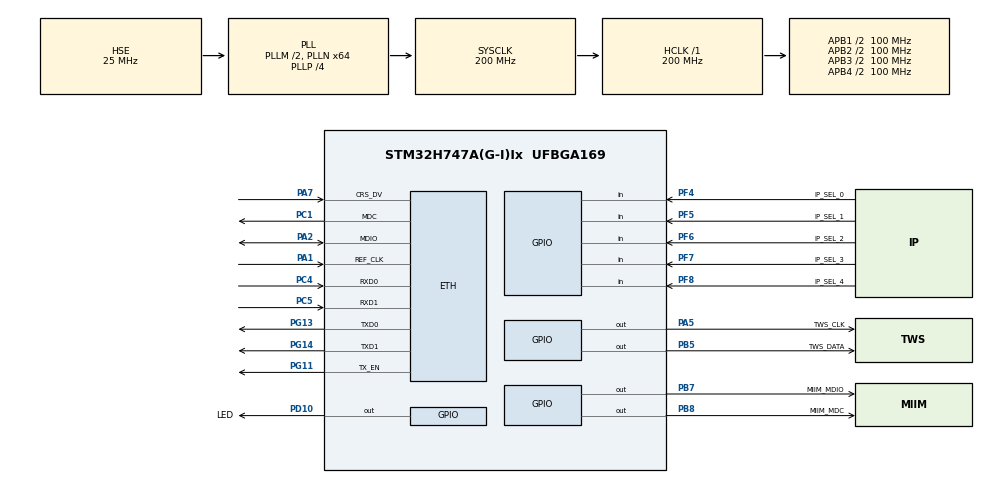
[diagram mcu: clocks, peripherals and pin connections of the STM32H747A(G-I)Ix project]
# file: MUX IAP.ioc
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CORTEX_M7.AccessPermission_S-Cortex_Memory_Protection_Unit_Region1_Settings_S=MPU_REGION_FULL_ACCESS
CORTEX_M7.AccessPermission_S-Cortex_Memory_Protection_Unit_Region2_Settings_S=MPU_REGION_FULL_ACCESS
CORTEX_M7.AccessPermission_Spec=MPU_REGION_NO_ACCESS
CORTEX_M7.BaseAddress_S-Cortex_Memory_Protection_Unit_Region1_Settings_S=0x30020000
CORTEX_M7.BaseAddress_S-Cortex_Memory_Protection_Unit_Region2_Settings_S=0x30040000
CORTEX_M7.BaseAddress_Spec=0x0
CORTEX_M7.CPU_DCache=Enabled
CORTEX_M7.CPU_ICache=Enabled
CORTEX_M7.DisableExec_S-Cortex_Memory_Protection_Unit_Region1_Settings_S=MPU_INSTRUCTION_ACCESS_DISABLE
CORTEX_M7.DisableExec_S-Cortex_Memory_Protection_Unit_Region2_Settings_S=MPU_INSTRUCTION_ACCESS_DISABLE
CORTEX_M7.Enable_S-Cortex_Memory_Protection_Unit_Region1_Settings_S=MPU_REGION_ENABLE
CORTEX_M7.Enable_S-Cortex_Memory_Protection_Unit_Region2_Settings_S=MPU_REGION_ENABLE
CORTEX_M7.IsBufferable_S-Cortex_Memory_Protection_Unit_Region2_Settings_S=MPU_ACCESS_BUFFERABLE
CORTEX_M7.IsShareable_S-Cortex_Memory_Protection_Unit_Region2_Settings_S=MPU_ACCESS_SHAREABLE
CORTEX_M7.Size_S-Cortex_Memory_Protection_Unit_Region1_Settings_S=MPU_REGION_SIZE_128KB
CORTEX_M7.Size_S-Cortex_Memory_Protection_Unit_Region2_Settings_S=MPU_REGION_SIZE_512B
CORTEX_M7.Size_Spec=MPU_REGION_SIZE_4GB
CORTEX_M7.SubRegionDisable_Spec=0x87
CORTEX_M7.TypeExtField_S-Cortex_Memory_Protection_Unit_Region1_Settings_S=MPU_TEX_LEVEL1
CORTEX_M7.TypeExtField_Spec=MPU_TEX_LEVEL0
CORTEX_M7.default_mode_Activation=1
CortexM4.IPs=CORTEX_M4\:I,FATFS_M4\:I,FREERTOS_M4\:I,IWDG2\:I,OPENAMP_M4\:I,PDM2PCM_M4\:I,PWR,RCC,RESMGR_UTILITY,SYS_M4\:I,USB_DEVICE_M4\:I,USB_HOST_M4\:I,VREFBUF,WWDG2\:I,GPIO,DMA,BDMA,MDMA,NVIC2\:I
CortexM7.IPs=CORTEX_M7\:I,FATFS_M7\:I,FREERTOS_M7\:I,IWDG1\:I,OPENAMP_M7\:I,PDM2PCM_M7\:I,PWR\:I,RCC\:I,RESMGR_UTILITY\:I,SYS\:I,USB_DEVICE_M7\:I,USB_HOST_M7\:I,VREFBUF\:I,WWDG1\:I,GPIO\:I,DMA\:I,BDMA\:I,MDMA\:I,NVIC1\:I,ETH\:I,TIM1\:I,DEBUG\:I,LWIP\:I,TIM6\:I
CortexM7.Pins=PB5,PB7,PB8,PF4,PF5,PF6,PF7,PF8,PA5,PD10
ETH.MACAddr=00\:80\:E1\:00\:00\:02
ETH.MediaInterface=HAL_ETH_RMII_MODE
ETH.RxBuffLen=1536
ETH.RxBufferAddress=0x30040200
ETH.RxDescAddress=0x30040000
ETH.TxDescAddress=0x30040100
LWIP.BSP.number=1
LWIP.IP_ADDRESS=192.168.035.005
LWIP.LWIP_DHCP=0
LWIP.LWIP_NETIF_HOSTNAME=1
LWIP.LWIP_RAM_HEAP_POINTER=0x30020000
LWIP.LWIP_RAW=1
LWIP.LWIP_TFTP=1
LWIP.MEM_SIZE=131048
LWIP.NETMASK_ADDRESS=255.255.255.000
LWIP.PBUF_POOL_BUFSIZE=10240
LWIP.PBUF_POOL_SIZE=11
LWIP.Version=v2.1.2_Cube
LWIP0.BSP.STBoard=false
LWIP0.BSP.api=BSP_COMPONENT_DRIVER
LWIP0.BSP.component=LAN8742
LWIP0.BSP.instance=LAN8742
LWIP0.BSP.name=Driver_PHY
LWIP0.BSP.semaphore=S_LAN8742
LWIP0.BSP.solution=LAN8742
Mcu.Family=STM32H7
Mcu.Name=STM32H747A(G-I)Ix
Mcu.Package=UFBGA169
NVIC1.PriorityGroup=NVIC_PRIORITYGROUP_4
NVIC1.TIM6_DAC_IRQn=true\:15\:0\:false\:false\:true\:false\:true\:true
NVIC1.TimeBase=TIM6_DAC_IRQn
NVIC1.TimeBaseIP=TIM6
NVIC2.PriorityGroup=NVIC_PRIORITYGROUP_4
PA1.GPIO_Speed=GPIO_SPEED_FREQ_VERY_HIGH
PA1.Mode=RMII
PA1.PinAttribute=CortexM7
PA1.Signal=ETH_REF_CLK
PA13\ (JTMS/SWDIO).Mode=Serial_Wire
PA13\ (JTMS/SWDIO).PinAttribute=CortexM7
PA13\ (JTMS/SWDIO).Signal=DEBUG_JTMS-SWDIO
PA14\ (JTCK/SWCLK).Mode=Serial_Wire
PA14\ (JTCK/SWCLK).PinAttribute=CortexM7
PA14\ (JTCK/SWCLK).Signal=DEBUG_JTCK-SWCLK
PA2.GPIO_Speed=GPIO_SPEED_FREQ_VERY_HIGH
PA2.Mode=RMII
PA2.PinAttribute=CortexM7
PA2.Signal=ETH_MDIO
PA5.GPIO_Label=TWS_CLK
PA5.GPIO_Speed=GPIO_SPEED_FREQ_VERY_HIGH
PA5.PinAttribute=CortexM7
PA5.Signal=GPIO_Output
PA7.GPIO_Speed=GPIO_SPEED_FREQ_VERY_HIGH
PA7.Mode=RMII
PA7.PinAttribute=CortexM7
PA7.Signal=ETH_CRS_DV
PB5.GPIO_Label=TWS_DATA
PB5.GPIO_Speed=GPIO_SPEED_FREQ_VERY_HIGH
PB5.PinAttribute=CortexM7
PB5.Signal=GPIO_Output
PB7.GPIO_Label=MIIM_MDIO
PB7.GPIO_Speed=GPIO_SPEED_FREQ_VERY_HIGH
PB7.PinAttribute=CortexM7
PB7.Signal=GPIO_Output
PB8.GPIO_Label=MIIM_MDC
PB8.GPIO_PuPd=GPIO_PULLDOWN
PB8.GPIO_Speed=GPIO_SPEED_FREQ_VERY_HIGH
PB8.PinAttribute=CortexM7
PB8.Signal=GPIO_Output
PC1.GPIO_Speed=GPIO_SPEED_FREQ_VERY_HIGH
PC1.Mode=RMII
PC1.PinAttribute=CortexM7
PC1.Signal=ETH_MDC
PC14-OSC32_IN\ (OSC32_IN).Mode=LSE-External-Clock-Source
PC14-OSC32_IN\ (OSC32_IN).PinAttribute=Free
PC14-OSC32_IN\ (OSC32_IN).Signal=RCC_OSC32_IN
PC4.GPIO_Speed=GPIO_SPEED_FREQ_VERY_HIGH
PC4.Mode=RMII
PC4.PinAttribute=CortexM7
PC4.Signal=ETH_RXD0
PC5.GPIO_Speed=GPIO_SPEED_FREQ_VERY_HIGH
PC5.Mode=RMII
PC5.PinAttribute=CortexM7
PC5.Signal=ETH_RXD1
PD10.GPIO_Label=LED
PD10.PinAttribute=CortexM7
PD10.PinState=GPIO_PIN_RESET
PD10.Signal=GPIO_Output
PF4.GPIO_Label=IP_SEL_0
PF4.GPIO_PuPd=GPIO_PULLDOWN
PF4.PinAttribute=CortexM7
PF4.Signal=GPIO_Input
PF5.GPIO_Label=IP_SEL_1
PF5.GPIO_PuPd=GPIO_PULLDOWN
PF5.PinAttribute=CortexM7
PF5.Signal=GPIO_Input
PF6.GPIO_Label=IP_SEL_2
PF6.GPIO_PuPd=GPIO_PULLDOWN
PF6.PinAttribute=CortexM7
PF6.Signal=GPIO_Input
PF7.GPIO_Label=IP_SEL_3
PF7.GPIO_PuPd=GPIO_PULLDOWN
PF7.PinAttribute=CortexM7
PF7.Signal=GPIO_Input
PF8.GPIO_Label=IP_SEL_4
PF8.GPIO_PuPd=GPIO_PULLDOWN
PF8.PinAttribute=CortexM7
PF8.Signal=GPIO_Input
PG11.GPIO_Speed=GPIO_SPEED_FREQ_VERY_HIGH
PG11.Mode=RMII
PG11.PinAttribute=CortexM7
PG11.Signal=ETH_TX_EN
PG13.GPIO_Speed=GPIO_SPEED_FREQ_VERY_HIGH
PG13.Mode=RMII
PG13.PinAttribute=CortexM7
PG13.Signal=ETH_TXD0
PG14.GPIO_Speed=GPIO_SPEED_FREQ_VERY_HIGH
PG14.Mode=RMII
PG14.PinAttribute=CortexM7
PG14.Signal=ETH_TXD1
PH0-OSC_IN\ (PH0).Mode=HSE-External-Clock-Source
PH0-OSC_IN\ (PH0).PinAttribute=Free
PH0-OSC_IN\ (PH0).Signal=RCC_OSC_IN
ProjectManager.HeapSize=M4-0x200,M7-0x10000
ProjectManager.StackSize=M4-0x400,M7-0x20000
ProjectManager.TargetToolchain=STM32CubeIDE
RCC.ADCFreq_Value=400000000
RCC.APB1Freq_Value=100000000
RCC.APB2Freq_Value=100000000
RCC.APB3Freq_Value=100000000
RCC.APB4Freq_Value=100000000
RCC.CortexFreq_Value=200000000
RCC.D1PPRE=RCC_APB3_DIV2
RCC.D2PPRE1=RCC_APB1_DIV2
RCC.D2PPRE2=RCC_APB2_DIV2
RCC.D3PPRE=RCC_APB4_DIV2
RCC.DIVM1=2
RCC.DIVM2=2
RCC.DIVM3=2
RCC.DIVN1=64
RCC.DIVN2=64
RCC.DIVN3=64
RCC.DIVP1=4
RCC.DIVR1=4
RCC.HCLKFreq_Value=200000000
RCC.PLLSourceVirtual=RCC_PLLSOURCE_HSE
RCC.PWR_Regulator_Voltage_Scale=PWR_REGULATOR_VOLTAGE_SCALE0
RCC.SYSCLKFreq_VALUE=200000000
RCC.SYSCLKSource=RCC_SYSCLKSOURCE_PLLCLK
RCC.SupplySource=PWR_LDO_SUPPLY
RCC.USBFreq_Value=400000000
SYS.userName=SYS_M7
TIM1.AutoReloadPreload=TIM_AUTORELOAD_PRELOAD_ENABLE
TIM1.Prescaler=59
VP_LWIP_VS_Enabled.Mode=Enabled
VP_SYS_M4_VS_Systick.Mode=SysTick
VP_SYS_VS_tim6.Mode=TIM6
VP_TIM1_VS_ClockSourceINT.Mode=Internal
board=custom

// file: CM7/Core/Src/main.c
/* USER CODE BEGIN Header */
/**
  ******************************************************************************
  * @file           : main.c
  * @brief          : Main program body
  ******************************************************************************
  * @attention
  *
  * Copyright (c) 2024 STMicroelectronics.
  * All rights reserved.
  *
  * This software is licensed under terms that can be found in the LICENSE file
  * in the root directory of this software component.
  * If no LICENSE file comes with this software, it is provided AS-IS.
  *
  ******************************************************************************
  */
/* USER CODE END Header */
#include "main.h"
#include "lwip.h"

/* USER CODE BEGIN Includes */
#include "lwip/init.h"
#include "lwip/netif.h"
#include "lwip/timeouts.h"
#include "netif/etharp.h"
#include "ethernetif.h"
#include "tftp_server_callbacks.h"
#include "tftp_server.h"
#include "tws_driver.h"
/* USER CODE END Includes */

/* USER CODE BEGIN PTD */
typedef  void (*pFunction)(void);
extern struct netif gnetif;
int _write(int file, char *ptr, int len)
{
  int DataIdx;

  for (DataIdx = 0; DataIdx < len; DataIdx++)
  {
    ITM_SendChar(*ptr++);
  }
  return len;
}
/* USER CODE END PTD */

/* USER CODE BEGIN PD */

#ifndef HSEM_ID_0
#define HSEM_ID_0 (0U) /* HW semaphore 0*/
#endif

/* USER CODE END PD */

TIM_HandleTypeDef htim1;

/* USER CODE BEGIN PV */
int slot = 0;
/* USER CODE END PV */

void SystemClock_Config(void);
static void MPU_Config(void);
static void MX_GPIO_Init(void);
static void MX_TIM1_Init(void);
/* USER CODE BEGIN PFP */
void CheckAndJumpToApplication(void);
void configureSMIRegisters(void);
/* USER CODE END PFP */

/* USER CODE BEGIN 0 */
struct tftp_context my_tftp_ctx = {
    .open = tftp_open,
    .close = tftp_close,
    .read = tftp_read,
    .write = tftp_write
};

pFunction JumpToApplication;
uint32_t JumpAddress;  // Will be calculated based on APPLICATION_ADDRESS
/* USER CODE END 0 */

int main(void)
{

  /* USER CODE BEGIN 1 */
//    CheckAndJumpToApplication();  // Check for valid application and jump if valid
//	NVIC_ClearPendingIRQ(TIM6_DAC_IRQn);
//
//    NVIC_DisableIRQ(TIM6_DAC_IRQn);
//
//    /* Enable TIM6 clock and reset TIM6 */
//    __HAL_RCC_TIM6_CLK_ENABLE();
//    __HAL_RCC_TIM6_FORCE_RESET();
//    __HAL_RCC_TIM6_RELEASE_RESET();
  /* USER CODE END 1 */
/* USER CODE BEGIN Boot_Mode_Sequence_0 */
  int32_t timeout;
/* USER CODE END Boot_Mode_Sequence_0 */

  /* MPU Configuration--------------------------------------------------------*/
  MPU_Config();

  /* Enable the CPU Cache */

  /* Enable I-Cache---------------------------------------------------------*/
  SCB_EnableICache();

  /* Enable D-Cache---------------------------------------------------------*/
  SCB_EnableDCache();

/* USER CODE BEGIN Boot_Mode_Sequence_1 */

/* USER CODE END Boot_Mode_Sequence_1 */
  /* MCU Configuration--------------------------------------------------------*/

  /* Reset of all peripherals, Initializes the Flash interface and the Systick. */
  HAL_Init();

  /* Configure the system clock */
  SystemClock_Config();
/* USER CODE BEGIN Boot_Mode_Sequence_2 */

/* USER CODE END Boot_Mode_Sequence_2 */

  /* Initialize all configured peripherals */
  MX_GPIO_Init();
  MX_TIM1_Init();
  /* USER CODE BEGIN 2 */
  HAL_Delay(1000);
  printf("Initializing\n");
  HAL_GPIO_WritePin(LED_GPIO_Port, LED_Pin, GPIO_PIN_SET);
  HAL_Delay(500);
  HAL_GPIO_WritePin(LED_GPIO_Port, LED_Pin, GPIO_PIN_RESET);
  HAL_Delay(500);
  HAL_GPIO_WritePin(LED_GPIO_Port, LED_Pin, GPIO_PIN_SET);

  #if defined(CMB_HW) || defined(CMBTS_HW)
  	  HAL_Delay(100);
	  HAL_TIM_Base_Start(&htim1);
	  HAL_Delay(100);
	  HAL_GPIO_WritePin(LED_GPIO_Port, LED_Pin, GPIO_PIN_RESET);
	  configureSMIRegisters();
	  HAL_Delay(100);
	  HAL_GPIO_WritePin(LED_GPIO_Port, LED_Pin, GPIO_PIN_SET);
	  HAL_Delay(100);
	  HAL_Delay(100);
	  MX_LWIP_Init();
	  HAL_Delay(1000);
  #endif
  #if defined(CMM_HW)
	  HAL_Delay(2000);
	  MX_LWIP_Init();
	  HAL_Delay(1000);
	  ETH_PHY_IO_WriteReg(0, 0, 8448);
	  HAL_Delay(1000);
  #endif
	  MX_LWIP_Process();
  volatile uint32_t *iap_flag_address = (uint32_t *)IAP_FLAG_ADDRESS;
  if (*iap_flag_address == IAP_FLAG_VALUE) {
      *iap_flag_address = 0;  // Clear the flag to prevent repeated entry into IAP mode
      LWIP_PLATFORM_DIAG(("IAP flag detected. Staying in IAP mode.\n"));
  } else {
      LWIP_PLATFORM_DIAG(("No IAP flag detected. Checking for application.\n"));
      CheckAndJumpToApplication();  // Jump to application if valid
  }
  HAL_Delay(50);
  printf("Starting TFTP\n");
  HAL_Delay(50);
  MX_LWIP_Process();
  HAL_Delay(50);
  tftp_init(&my_tftp_ctx);
  HAL_Delay(50);
//  netif_set_ipaddr();
//  netif_set_hostname();

  /* USER CODE END 2 */

  /* Infinite loop */
  /* USER CODE BEGIN WHILE */
  while (1)
  {
    HAL_GPIO_WritePin(LED_GPIO_Port, LED_Pin, GPIO_PIN_RESET);
	MX_LWIP_Process();
	HAL_Delay(50);
    HAL_GPIO_WritePin(LED_GPIO_Port, LED_Pin, GPIO_PIN_SET);
	HAL_Delay(50);
	MX_LWIP_Process();

    /* USER CODE END WHILE */

  }
}

void SystemClock_Config(void)
{
  RCC_OscInitTypeDef RCC_OscInitStruct = {0};
  RCC_ClkInitTypeDef RCC_ClkInitStruct = {0};

  /** Supply configuration update enable
  */
  HAL_PWREx_ConfigSupply(PWR_LDO_SUPPLY);

  /** Configure the main internal regulator output voltage
  */
  __HAL_PWR_VOLTAGESCALING_CONFIG(PWR_REGULATOR_VOLTAGE_SCALE1);

  while(!__HAL_PWR_GET_FLAG(PWR_FLAG_VOSRDY)) {}

  __HAL_RCC_SYSCFG_CLK_ENABLE();
  __HAL_PWR_VOLTAGESCALING_CONFIG(PWR_REGULATOR_VOLTAGE_SCALE0);

  while(!__HAL_PWR_GET_FLAG(PWR_FLAG_VOSRDY)) {}

  /** Initializes the RCC Oscillators according to the specified parameters
  * in the RCC_OscInitTypeDef structure.
  */
  RCC_OscInitStruct.OscillatorType = RCC_OSCILLATORTYPE_HSE;
  RCC_OscInitStruct.HSEState = RCC_HSE_BYPASS;
  RCC_OscInitStruct.PLL.PLLState = RCC_PLL_ON;
  RCC_OscInitStruct.PLL.PLLSource = RCC_PLLSOURCE_HSE;
  RCC_OscInitStruct.PLL.PLLM = 2;
  RCC_OscInitStruct.PLL.PLLN = 64;
  RCC_OscInitStruct.PLL.PLLP = 4;
  RCC_OscInitStruct.PLL.PLLQ = 2;
  RCC_OscInitStruct.PLL.PLLR = 4;
  RCC_OscInitStruct.PLL.PLLRGE = RCC_PLL1VCIRANGE_3;
  RCC_OscInitStruct.PLL.PLLVCOSEL = RCC_PLL1VCOWIDE;
  RCC_OscInitStruct.PLL.PLLFRACN = 0;
  if (HAL_RCC_OscConfig(&RCC_OscInitStruct) != HAL_OK)
  {
    Error_Handler();
  }

  /** Initializes the CPU, AHB and APB buses clocks
  */
  RCC_ClkInitStruct.ClockType = RCC_CLOCKTYPE_HCLK|RCC_CLOCKTYPE_SYSCLK
                              |RCC_CLOCKTYPE_PCLK1|RCC_CLOCKTYPE_PCLK2
                              |RCC_CLOCKTYPE_D3PCLK1|RCC_CLOCKTYPE_D1PCLK1;
  RCC_ClkInitStruct.SYSCLKSource = RCC_SYSCLKSOURCE_PLLCLK;
  RCC_ClkInitStruct.SYSCLKDivider = RCC_SYSCLK_DIV1;
  RCC_ClkInitStruct.AHBCLKDivider = RCC_HCLK_DIV1;
  RCC_ClkInitStruct.APB3CLKDivider = RCC_APB3_DIV2;
  RCC_ClkInitStruct.APB1CLKDivider = RCC_APB1_DIV2;
  RCC_ClkInitStruct.APB2CLKDivider = RCC_APB2_DIV2;
  RCC_ClkInitStruct.APB4CLKDivider = RCC_APB4_DIV2;

  if (HAL_RCC_ClockConfig(&RCC_ClkInitStruct, FLASH_LATENCY_2) != HAL_OK)
  {
    Error_Handler();
  }
}

static void MX_TIM1_Init(void)
{

  TIM_ClockConfigTypeDef sClockSourceConfig = {0};
  TIM_MasterConfigTypeDef sMasterConfig = {0};

  htim1.Instance = TIM1;
  htim1.Init.Prescaler = 59;
  htim1.Init.CounterMode = TIM_COUNTERMODE_UP;
  htim1.Init.Period = 65535;
  htim1.Init.ClockDivision = TIM_CLOCKDIVISION_DIV1;
  htim1.Init.RepetitionCounter = 0;
  htim1.Init.AutoReloadPreload = TIM_AUTORELOAD_PRELOAD_ENABLE;
  if (HAL_TIM_Base_Init(&htim1) != HAL_OK)
  {
    Error_Handler();
  }
  sClockSourceConfig.ClockSource = TIM_CLOCKSOURCE_INTERNAL;
  if (HAL_TIM_ConfigClockSource(&htim1, &sClockSourceConfig) != HAL_OK)
  {
    Error_Handler();
  }
  sMasterConfig.MasterOutputTrigger = TIM_TRGO_RESET;
  sMasterConfig.MasterOutputTrigger2 = TIM_TRGO2_RESET;
  sMasterConfig.MasterSlaveMode = TIM_MASTERSLAVEMODE_DISABLE;
  if (HAL_TIMEx_MasterConfigSynchronization(&htim1, &sMasterConfig) != HAL_OK)
  {
    Error_Handler();
  }

}

static void MX_GPIO_Init(void)
{
  GPIO_InitTypeDef GPIO_InitStruct = {0};

  /* GPIO Ports Clock Enable */
  __HAL_RCC_GPIOB_CLK_ENABLE();
  __HAL_RCC_GPIOA_CLK_ENABLE();
  __HAL_RCC_GPIOG_CLK_ENABLE();
  __HAL_RCC_GPIOF_CLK_ENABLE();
  __HAL_RCC_GPIOC_CLK_ENABLE();
  __HAL_RCC_GPIOD_CLK_ENABLE();

  /*Configure GPIO pin Output Level */
  HAL_GPIO_WritePin(GPIOB, TWS_DATA_Pin|MIIM_MDIO_Pin|MIIM_MDC_Pin, GPIO_PIN_RESET);

  /*Configure GPIO pin Output Level */
  HAL_GPIO_WritePin(TWS_CLK_GPIO_Port, TWS_CLK_Pin, GPIO_PIN_RESET);

  /*Configure GPIO pin Output Level */
  HAL_GPIO_WritePin(LED_GPIO_Port, LED_Pin, GPIO_PIN_RESET);

  /*Configure GPIO pins : TWS_DATA_Pin MIIM_MDIO_Pin */
  GPIO_InitStruct.Pin = TWS_DATA_Pin|MIIM_MDIO_Pin;
  GPIO_InitStruct.Mode = GPIO_MODE_OUTPUT_PP;
  GPIO_InitStruct.Pull = GPIO_NOPULL;
  GPIO_InitStruct.Speed = GPIO_SPEED_FREQ_VERY_HIGH;
  HAL_GPIO_Init(GPIOB, &GPIO_InitStruct);

  /*Configure GPIO pin : MIIM_MDC_Pin */
  GPIO_InitStruct.Pin = MIIM_MDC_Pin;
  GPIO_InitStruct.Mode = GPIO_MODE_OUTPUT_PP;
  GPIO_InitStruct.Pull = GPIO_PULLDOWN;
  GPIO_InitStruct.Speed = GPIO_SPEED_FREQ_VERY_HIGH;
  HAL_GPIO_Init(MIIM_MDC_GPIO_Port, &GPIO_InitStruct);

  /*Configure GPIO pins : IP_SEL_0_Pin IP_SEL_1_Pin IP_SEL_2_Pin IP_SEL_3_Pin
                           IP_SEL_4_Pin */
  GPIO_InitStruct.Pin = IP_SEL_0_Pin|IP_SEL_1_Pin|IP_SEL_2_Pin|IP_SEL_3_Pin
                          |IP_SEL_4_Pin;
  GPIO_InitStruct.Mode = GPIO_MODE_INPUT;
  GPIO_InitStruct.Pull = GPIO_PULLDOWN;
  HAL_GPIO_Init(GPIOF, &GPIO_InitStruct);

  /*Configure GPIO pin : TWS_CLK_Pin */
  GPIO_InitStruct.Pin = TWS_CLK_Pin;
  GPIO_InitStruct.Mode = GPIO_MODE_OUTPUT_PP;
  GPIO_InitStruct.Pull = GPIO_NOPULL;
  GPIO_InitStruct.Speed = GPIO_SPEED_FREQ_VERY_HIGH;
  HAL_GPIO_Init(TWS_CLK_GPIO_Port, &GPIO_InitStruct);

  /*Configure GPIO pin : LED_Pin */
  GPIO_InitStruct.Pin = LED_Pin;
  GPIO_InitStruct.Mode = GPIO_MODE_OUTPUT_PP;
  GPIO_InitStruct.Pull = GPIO_NOPULL;
  GPIO_InitStruct.Speed = GPIO_SPEED_FREQ_LOW;
  HAL_GPIO_Init(LED_GPIO_Port, &GPIO_InitStruct);

}

/* USER CODE BEGIN 4 */
void CheckAndJumpToApplication(void)
{
    /* Check if there's a valid application in the user Flash area */
    if (((*(__IO uint32_t*)APPLICATION_ADDRESS) & 0xFF800000) == 0x24000000) // Check if the stack pointer is within AXI SRAM range
    {
        /* If valid, set the jump address to the application's reset handler address */
        uint32_t JumpAddress = *(__IO uint32_t*) (APPLICATION_ADDRESS + 4);
        pFunction JumpToApplication = (pFunction) JumpAddress;

        /* Initialize the application's Stack Pointer */
        __set_MSP(*(__IO uint32_t*) APPLICATION_ADDRESS);

        /* Jump to the user application */
        JumpToApplication();
    }
    /* If invalid, remain in bootloader mode (continue with IAP) */
}

void configureSMIRegisters(void) {
    uint16_t readValue;
//    // Swtich to Register page 0x0C
    TWS_DRIVER_WRITE(0xFF, 0x0C);
    HAL_Delay(50);
//
//    //Resset defaults
    TWS_DRIVER_WRITE(0x00, 0x10);

    HAL_Delay(500);
    TWS_DRIVER_WRITE(0xFF, 0x0C);
    HAL_Delay(50);
	TWS_DRIVER_WRITE(0x08, 0b10100111011);
    readValue = TWS_DRIVER_READ(0x08);
    printf("Register 0x08 value: 0x%04X\n", readValue);
    HAL_Delay(50);

    // Swtich to Register page 0x03
    TWS_DRIVER_WRITE(0xFF, 0x03);
    HAL_Delay(50);

    // Write to Register 0x17: Set LED Mode
	TWS_DRIVER_WRITE(0x17, 0x00C5);

	// PHY address setting for port 17 ~ port 19
	TWS_DRIVER_WRITE(0x11, 0x1B1C);
//	readValue = TWS_DRIVER_READ(0x11);
	TWS_PHY_WRITE(1, 0, 0, 16, 8448);

}

/* USER CODE END 4 */

 /* MPU Configuration */

void MPU_Config(void)
{
  MPU_Region_InitTypeDef MPU_InitStruct = {0};

  /* Disables the MPU */
  HAL_MPU_Disable();

  /** Initializes and configures the Region and the memory to be protected
  */
  MPU_InitStruct.Enable = MPU_REGION_ENABLE;
  MPU_InitStruct.Number = MPU_REGION_NUMBER0;
  MPU_InitStruct.BaseAddress = 0x0;
  MPU_InitStruct.Size = MPU_REGION_SIZE_4GB;
  MPU_InitStruct.SubRegionDisable = 0x87;
  MPU_InitStruct.TypeExtField = MPU_TEX_LEVEL0;
  MPU_InitStruct.AccessPermission = MPU_REGION_NO_ACCESS;
  MPU_InitStruct.DisableExec = MPU_INSTRUCTION_ACCESS_DISABLE;
  MPU_InitStruct.IsShareable = MPU_ACCESS_SHAREABLE;
  MPU_InitStruct.IsCacheable = MPU_ACCESS_NOT_CACHEABLE;
  MPU_InitStruct.IsBufferable = MPU_ACCESS_NOT_BUFFERABLE;

  HAL_MPU_ConfigRegion(&MPU_InitStruct);

  /** Initializes and configures the Region and the memory to be protected
  */
  MPU_InitStruct.Number = MPU_REGION_NUMBER1;
  MPU_InitStruct.BaseAddress = 0x30020000;
  MPU_InitStruct.Size = MPU_REGION_SIZE_128KB;
  MPU_InitStruct.SubRegionDisable = 0x0;
  MPU_InitStruct.TypeExtField = MPU_TEX_LEVEL1;
  MPU_InitStruct.AccessPermission = MPU_REGION_FULL_ACCESS;
  MPU_InitStruct.IsShareable = MPU_ACCESS_NOT_SHAREABLE;

  HAL_MPU_ConfigRegion(&MPU_InitStruct);

  /** Initializes and configures the Region and the memory to be protected
  */
  MPU_InitStruct.Number = MPU_REGION_NUMBER2;
  MPU_InitStruct.BaseAddress = 0x30040000;
  MPU_InitStruct.Size = MPU_REGION_SIZE_512B;
  MPU_InitStruct.TypeExtField = MPU_TEX_LEVEL0;
  MPU_InitStruct.IsShareable = MPU_ACCESS_SHAREABLE;
  MPU_InitStruct.IsBufferable = MPU_ACCESS_BUFFERABLE;

  HAL_MPU_ConfigRegion(&MPU_InitStruct);
  /* Enables the MPU */
  HAL_MPU_Enable(MPU_PRIVILEGED_DEFAULT);

}

void HAL_TIM_PeriodElapsedCallback(TIM_HandleTypeDef *htim)
{
  if (htim->Instance == TIM6) {
    HAL_IncTick();
  }
}

void Error_Handler(void)
{
  __disable_irq();
  while (1)
  {
  }
}
